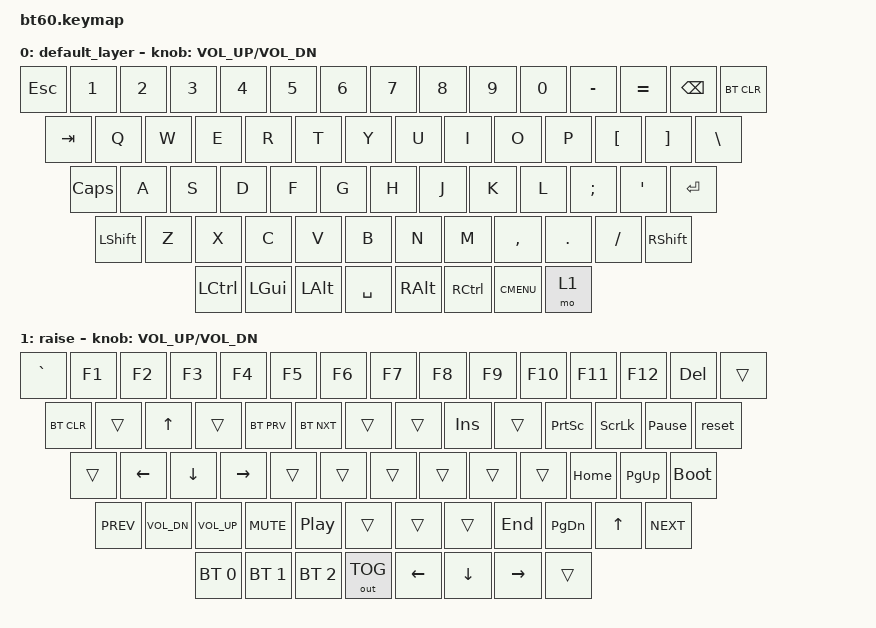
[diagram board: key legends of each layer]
#include <behaviors.dtsi>
#include <dt-bindings/zmk/keys.h>
#include <dt-bindings/zmk/bt.h>
#include <dt-bindings/zmk/outputs.h>

/ {
	keymap {
		compatible = "zmk,keymap";

		default_layer {
				// ------------------------------------------------------------------------------------------
				// | ESC |  1  |  2  |  3  |  4  |  5  |  6  |  7  |  8  |  9  |  0  |  -  |  =  |   BKSP   | DEL
				// | TAB  |  Q  |  W  |  E  |  R  |  T  |  Y  |  U  |  I  |  O  |  P  |  [  |  ]  |   |    |
				// | CAPS  |  A  |  S  |  D  |  F  |  G  |  H  |  J  |  K  |  L  |  ;  |  '  |     ENTER    |
				// |  SHIFT    |  Z  |  X  |  C  |  V  |  B  |  N  |  M  |  ,  |  .  | /   |      SHIFT     |
				// |  CTL  |  WIN  |  ALT  |            SPACE               | ALT | 1    |  MENU    |  CTRL    |
				// ------------------------------------------------------------------------------------------
			bindings = <
				&kp ESC &kp N1 &kp N2 &kp N3 &kp N4 &kp N5 &kp N6 &kp N7 &kp  N8   &kp  N9 &kp  N0  &kp MINUS &kp EQUAL &kp BSPC &bt BT_CLR
				&kp TAB  &kp Q  &kp W  &kp E  &kp R  &kp T  &kp Y  &kp U  &kp  I    &kp  O  &kp  P   &kp LBKT &kp RBKT  &kp BSLH
				&kp CLCK  &kp A  &kp S  &kp D  &kp F  &kp G  &kp H  &kp J  &kp  K    &kp  L  &kp SEMI &kp SQT           &kp RET
				&kp LSHFT  &kp Z  &kp X  &kp C  &kp V  &kp B  &kp N  &kp M  &kp COMMA &kp DOT &kp FSLH             &kp RSHFT
				&kp LCTRL &kp LGUI &kp LALT            &kp SPACE                          &kp RALT  &kp RCTRL &kp K_CMENU &mo 1
			>;
			sensor-bindings = <&inc_dec_kp C_VOL_UP C_VOL_DN>;
		};
		raise {
			bindings = <
				&kp GRAVE &kp F1 &kp F2 &kp F3 &kp F4 &kp F5 &kp F6 &kp F7 &kp  F8   &kp  F9 &kp  F10  &kp F11 &kp F12   &kp DEL &trans
				&bt BT_CLR &trans &kp UP &trans &bt BT_PRV &bt BT_NXT &trans &trans &kp INS &trans &kp PSCRN &kp SLCK &kp PAUSE_BREAK &reset
				&trans    &kp LEFT &kp DOWN &kp RIGHT &trans &trans &trans &trans &trans &trans &kp HOME  &kp PG_UP   &bootloader
				&kp C_PREV &kp C_VOL_DN &kp C_VOL_UP &kp C_MUTE &kp C_PLAY_PAUSE &trans &trans &trans &kp END &kp PG_DN &kp UP  &kp C_NEXT
				&bt BT_SEL 0 &bt BT_SEL 1  &bt BT_SEL 2              &out OUT_TOG                            &kp LEFT &kp DOWN &kp RIGHT &trans
			>;
			sensor-bindings = <&inc_dec_kp C_VOL_UP C_VOL_DN>;
		};
	};
};
